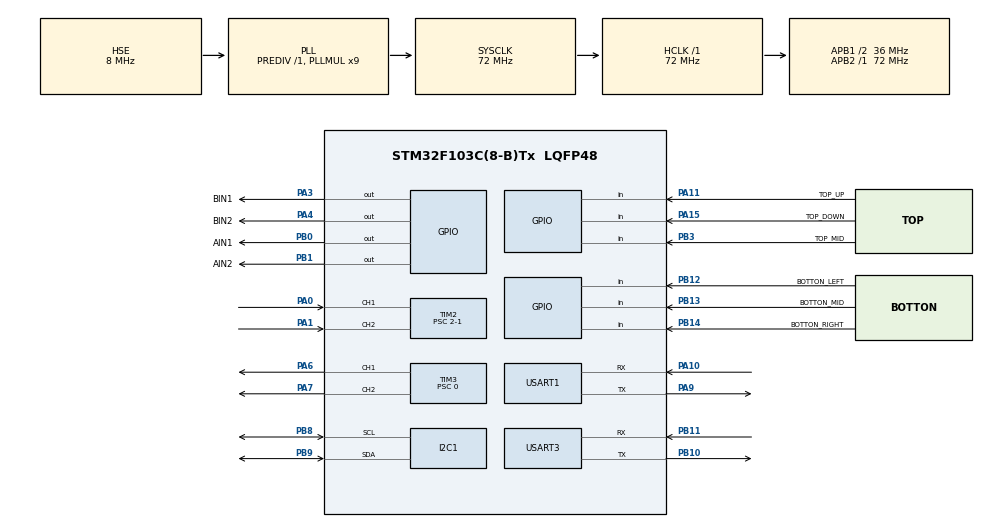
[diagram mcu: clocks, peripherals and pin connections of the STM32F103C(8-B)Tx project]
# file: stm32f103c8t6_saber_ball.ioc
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I2C1.I2C_Mode=I2C_Fast
Mcu.Family=STM32F1
Mcu.Name=STM32F103C(8-B)Tx
Mcu.Package=LQFP48
NVIC.PriorityGroup=NVIC_PRIORITYGROUP_4
NVIC.TIM2_IRQn=true\:0\:0\:false\:false\:true\:true\:true\:true
PA0-WKUP.GPIO_PuPd=GPIO_PULLUP
PA0-WKUP.Signal=S_TIM2_CH1_ETR
PA1.GPIO_PuPd=GPIO_PULLUP
PA1.Signal=S_TIM2_CH2
PA10.Mode=Asynchronous
PA10.Signal=USART1_RX
PA11.GPIO_Label=TOP_UP
PA11.GPIO_PuPd=GPIO_PULLDOWN
PA11.Signal=GPIO_Input
PA13.Mode=Serial_Wire
PA13.Signal=SYS_JTMS-SWDIO
PA14.Mode=Serial_Wire
PA14.Signal=SYS_JTCK-SWCLK
PA15.GPIO_Label=TOP_DOWN
PA15.GPIO_PuPd=GPIO_PULLDOWN
PA15.Signal=GPIO_Input
PA3.GPIO_Label=BIN1
PA3.Signal=GPIO_Output
PA4.GPIO_Label=BIN2
PA4.Signal=GPIO_Output
PA6.Signal=S_TIM3_CH1
PA7.Signal=S_TIM3_CH2
PA9.Mode=Asynchronous
PA9.Signal=USART1_TX
PB0.GPIO_Label=AIN1
PB0.Signal=GPIO_Output
PB1.GPIO_Label=AIN2
PB1.Signal=GPIO_Output
PB10.Mode=Asynchronous
PB10.Signal=USART3_TX
PB11.Mode=Asynchronous
PB11.Signal=USART3_RX
PB12.GPIO_Label=BOTTON_LEFT
PB12.GPIO_PuPd=GPIO_PULLDOWN
PB12.Signal=GPIO_Input
PB13.GPIO_Label=BOTTON_MID
PB13.GPIO_PuPd=GPIO_PULLDOWN
PB13.Signal=GPIO_Input
PB14.GPIO_Label=BOTTON_RIGHT
PB14.GPIO_PuPd=GPIO_PULLDOWN
PB14.Signal=GPIO_Input
PB3.GPIO_Label=TOP_MID
PB3.GPIO_PuPd=GPIO_PULLDOWN
PB3.Signal=GPIO_Input
PB8.Mode=I2C
PB8.Signal=I2C1_SCL
PB9.Mode=I2C
PB9.Signal=I2C1_SDA
PC14-OSC32_IN.Mode=LSE-External-Oscillator
PC14-OSC32_IN.Signal=RCC_OSC32_IN
PC15-OSC32_OUT.Mode=LSE-External-Oscillator
PC15-OSC32_OUT.Signal=RCC_OSC32_OUT
PD0-OSC_IN.Mode=HSE-External-Oscillator
PD0-OSC_IN.Signal=RCC_OSC_IN
PD1-OSC_OUT.Mode=HSE-External-Oscillator
PD1-OSC_OUT.Signal=RCC_OSC_OUT
ProjectManager.HeapSize=0x200
ProjectManager.StackSize=0x400
ProjectManager.TargetToolchain=MDK-ARM V5.32
RCC.AHBFreq_Value=72000000
RCC.APB1CLKDivider=RCC_HCLK_DIV2
RCC.APB1Freq_Value=36000000
RCC.APB1TimFreq_Value=72000000
RCC.APB2Freq_Value=72000000
RCC.APB2TimFreq_Value=72000000
RCC.HCLKFreq_Value=72000000
RCC.PLLMUL=RCC_PLL_MUL9
RCC.PLLSourceVirtual=RCC_PLLSOURCE_HSE
RCC.SYSCLKFreq_VALUE=72000000
RCC.SYSCLKSource=RCC_SYSCLKSOURCE_PLLCLK
RCC.USBFreq_Value=72000000
SH.S_TIM2_CH1_ETR.0=TIM2_CH1,Encoder_Interface
SH.S_TIM2_CH2.0=TIM2_CH2,Encoder_Interface
SH.S_TIM3_CH1.0=TIM3_CH1,PWM Generation1 CH1
SH.S_TIM3_CH2.0=TIM3_CH2,PWM Generation2 CH2
TIM2.Period=1
TIM2.Prescaler=2-1
TIM3.Channel-PWM\ Generation1\ CH1=TIM_CHANNEL_1
TIM3.Channel-PWM\ Generation2\ CH2=TIM_CHANNEL_2
TIM3.Period=8400-1
TIM3.Prescaler=0
USART1.VirtualMode=VM_ASYNC
USART3.VirtualMode=VM_ASYNC
VP_TIM3_VS_ClockSourceINT.Mode=Internal
board=custom

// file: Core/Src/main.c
/* USER CODE BEGIN Header */
/**
 ******************************************************************************
 * @file           : main.c
 * @brief          : Main program body
 ******************************************************************************
 * @attention
 *
 * Copyright (c) 2024 STMicroelectronics.
 * All rights reserved.
 *
 * This software is licensed under terms that can be found in the LICENSE file
 * in the root directory of this software component.
 * If no LICENSE file comes with this software, it is provided AS-IS.
 *
 ******************************************************************************
 */
/* USER CODE END Header */
#include "main.h"
#include "i2c.h"
#include "tim.h"
#include "usart.h"
#include "gpio.h"

/* USER CODE BEGIN Includes */
#include "../../User/Inc/motor.h"
#include "../../User/Inc/oled.h"
#include "../../User/Inc/key.h"

/* USER CODE END Includes */

void SystemClock_Config(void);

/* USER CODE BEGIN 0 */
uint16_t Encoder_Count;

/* USER CODE END 0 */

int main(void)
{

  /* MCU Configuration--------------------------------------------------------*/

  /* Reset of all peripherals, Initializes the Flash interface and the Systick. */
  HAL_Init();

  /* Configure the system clock */
  SystemClock_Config();

  /* Initialize all configured peripherals */
  MX_GPIO_Init();
  MX_TIM3_Init();
  MX_I2C1_Init();
  MX_USART1_UART_Init();
  MX_USART3_UART_Init();
  MX_TIM2_Init();
  /* USER CODE BEGIN 2 */
  OLED_Init();
  OLED_Clear();
  HAL_TIM_PWM_Start(&htim3, TIM_CHANNEL_1);
  HAL_TIM_PWM_Start(&htim3, TIM_CHANNEL_2);
  // 清除中断，否则一开机就会进入一次中断
  __HAL_TIM_CLEAR_IT(&htim2, TIM_IT_UPDATE);
  // 启动计数
  HAL_TIM_Encoder_Start(&htim2, TIM_CHANNEL_ALL);
  // 更新中断用于溢出计数
  __HAL_TIM_ENABLE_IT(&htim2, TIM_IT_UPDATE);
  // 定义一个显示数字的变量
  uint16_t num = 0;
  // 马达速度
  int speed = 0;
  uint16_t TOP_UP_Key_Count, TOP_MID_Key_Count, TOP_DOWN_Key_Count;

  uint16_t BOTTON_LEFT_Key_Count, BOTTON_MID_Key_Count, BOTTON_RIGHT_Key_Count;

  Motor(Top_Motor, 0);
  Motor(Bottom_Motor, 0);
  OLED_ShowString(0, 0, "T_U:", 8);
  OLED_ShowString(0, 1, "T_M:", 8);
  OLED_ShowString(0, 2, "T_D:", 8);
  OLED_ShowString(0, 3, "Speed:", 8);

  OLED_ShowString(60, 0, "B_L:", 8);
  OLED_ShowString(60, 1, "B_M:", 8);
  OLED_ShowString(60, 2, "B_R:", 8);
  /* USER CODE END 2 */

  /* Infinite loop */
  /* USER CODE BEGIN WHILE */
  while (1)
  {

    OLED_ShowNum(28, 0, Get_Key_Status(TOP_UP_GPIO_Port, TOP_UP_Pin), 1, 8);
    OLED_ShowNum(36, 0, TOP_UP_Key_Count, 4, 8);
    OLED_ShowNum(28, 1, Get_Key_Status(TOP_MID_GPIO_Port, TOP_MID_Pin), 1, 8);
    OLED_ShowNum(36, 1, TOP_MID_Key_Count, 4, 8);
    OLED_ShowNum(28, 2, Get_Key_Status(TOP_DOWN_GPIO_Port, TOP_DOWN_Pin), 1, 8);
    OLED_ShowNum(36, 2, TOP_DOWN_Key_Count, 4, 8);

    OLED_ShowNum(88, 0, Get_Key_Status(BOTTON_LEFT_GPIO_Port, BOTTON_LEFT_Pin), 1, 8);
    OLED_ShowNum(96, 0, BOTTON_LEFT_Key_Count, 4, 8);
    OLED_ShowNum(88, 1, Get_Key_Status(BOTTON_MID_GPIO_Port, BOTTON_MID_Pin), 1, 8);
    OLED_ShowNum(96, 1, BOTTON_MID_Key_Count, 4, 8);
    OLED_ShowNum(88, 2, Get_Key_Status(BOTTON_RIGHT_GPIO_Port, BOTTON_RIGHT_Pin), 1, 8);
    OLED_ShowNum(96, 2, BOTTON_RIGHT_Key_Count, 4, 8);

    OLED_ShowNum(48, 3, Encoder_Count, 4, 8);

    Set_Pwm(Encoder_Count);

    if (Get_Key_Status(TOP_UP_GPIO_Port, TOP_UP_Pin) == 1)
    {
      // TOP_UP_Key_Count += 1;
      if (Get_Key_Status(BOTTON_RIGHT_GPIO_Port, BOTTON_RIGHT_Pin) == 1)
      {
        // BOTTON_RIGHT_Key_Count += 1;
        Motor(Top_Motor, 0);
        Motor(Bottom_Motor, -1);
      }
      else if (Get_Key_Status(BOTTON_LEFT_GPIO_Port, BOTTON_LEFT_Pin) == 1)
      {
        // BOTTON_LEFT_Key_Count += 1;
        Motor(Top_Motor, -1);
        Motor(Bottom_Motor, 0);
      }
      else
      {
        Motor(Bottom_Motor, 0);
        Motor(Top_Motor, 0);
      }
    }
    if (Get_Key_Status(TOP_DOWN_GPIO_Port, TOP_DOWN_Pin) == 1)
    {
      // TOP_DOWN_Key_Count += 1;
      if (Get_Key_Status(BOTTON_LEFT_GPIO_Port, BOTTON_LEFT_Pin) == 1)
      {
        // BOTTON_LEFT_Key_Count += 1;
        Motor(Top_Motor, 0);
        Motor(Bottom_Motor, 1);
      }
      else if (Get_Key_Status(BOTTON_RIGHT_GPIO_Port, BOTTON_RIGHT_Pin) == 1)
      {
        // BOTTON_RIGHT_Key_Count += 1;
        Motor(Top_Motor, 1);
        Motor(Bottom_Motor, 0);
      }
      else
      {
        Motor(Bottom_Motor, 0);
        Motor(Top_Motor, 0);
      }
    }

    // HAL_Delay(200);
    // Motor(Top_Motor, -1);
    // Motor(Bottom_Motor, -1);
    // HAL_Delay(200);

    /* USER CODE END WHILE */

  }
}

void SystemClock_Config(void)
{
  RCC_OscInitTypeDef RCC_OscInitStruct = {0};
  RCC_ClkInitTypeDef RCC_ClkInitStruct = {0};

  /** Initializes the RCC Oscillators according to the specified parameters
   * in the RCC_OscInitTypeDef structure.
   */
  RCC_OscInitStruct.OscillatorType = RCC_OSCILLATORTYPE_HSE;
  RCC_OscInitStruct.HSEState = RCC_HSE_ON;
  RCC_OscInitStruct.HSEPredivValue = RCC_HSE_PREDIV_DIV1;
  RCC_OscInitStruct.HSIState = RCC_HSI_ON;
  RCC_OscInitStruct.PLL.PLLState = RCC_PLL_ON;
  RCC_OscInitStruct.PLL.PLLSource = RCC_PLLSOURCE_HSE;
  RCC_OscInitStruct.PLL.PLLMUL = RCC_PLL_MUL9;
  if (HAL_RCC_OscConfig(&RCC_OscInitStruct) != HAL_OK)
  {
    Error_Handler();
  }

  /** Initializes the CPU, AHB and APB buses clocks
   */
  RCC_ClkInitStruct.ClockType = RCC_CLOCKTYPE_HCLK | RCC_CLOCKTYPE_SYSCLK | RCC_CLOCKTYPE_PCLK1 | RCC_CLOCKTYPE_PCLK2;
  RCC_ClkInitStruct.SYSCLKSource = RCC_SYSCLKSOURCE_PLLCLK;
  RCC_ClkInitStruct.AHBCLKDivider = RCC_SYSCLK_DIV1;
  RCC_ClkInitStruct.APB1CLKDivider = RCC_HCLK_DIV2;
  RCC_ClkInitStruct.APB2CLKDivider = RCC_HCLK_DIV1;

  if (HAL_RCC_ClockConfig(&RCC_ClkInitStruct, FLASH_LATENCY_2) != HAL_OK)
  {
    Error_Handler();
  }
}

/* USER CODE BEGIN 4 */
void HAL_GPIO_EXTI_Callback(uint16_t GPIO_Pin)
{
}

void HAL_TIM_PeriodElapsedCallback(TIM_HandleTypeDef *htim)
{
  uint32_t val;

  if (htim == &htim2)
  {
    val = (uint32_t)(__HAL_TIM_IS_TIM_COUNTING_DOWN(&htim2));
    if (val == 1)
    {
      Encoder_Count += 100;
    }
    if (val == 0)
    {
      Encoder_Count -= 100;
    }
    if (Encoder_Count > 8400)
    {
      Encoder_Count = 0;
    }
  }
}
/* USER CODE END 4 */

void Error_Handler(void)
{
  __disable_irq();
  while (1)
  {
  }
}
